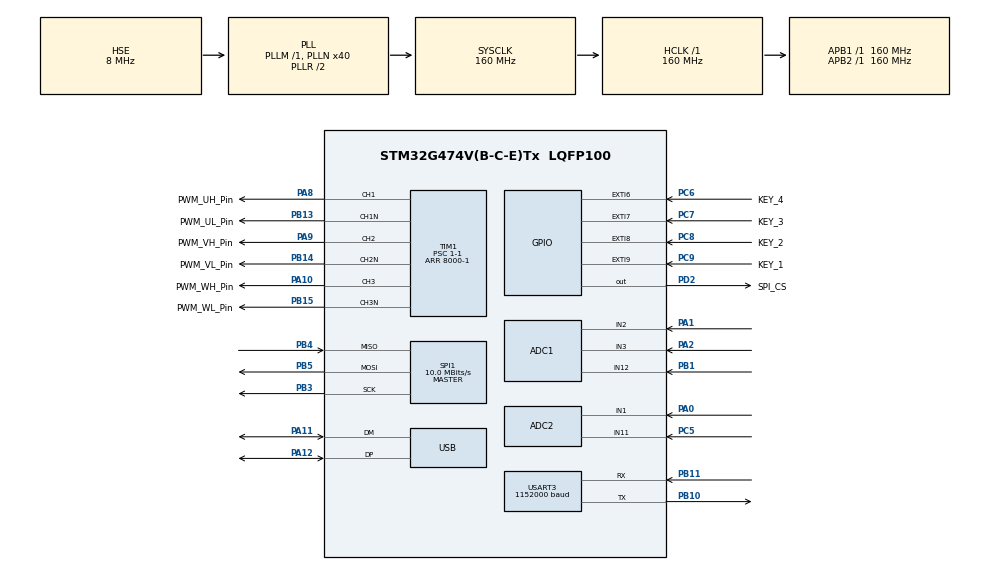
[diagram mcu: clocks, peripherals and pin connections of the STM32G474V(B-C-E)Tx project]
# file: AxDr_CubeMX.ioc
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ADC1.Channel-0\#ChannelRegularConversion=ADC_CHANNEL_12
ADC1.EnableInjectedConversion=ENABLE
ADC1.ExternalTrigInjecConv=ADC_EXTERNALTRIGINJEC_T1_TRGO
ADC1.InjNumberOfConversion=2
ADC1.InjectedChannel-1\#ChannelInjectedConversion=ADC_CHANNEL_3
ADC1.InjectedChannel-2\#ChannelInjectedConversion=ADC_CHANNEL_2
ADC1.InjectedOffsetNumber-1\#ChannelInjectedConversion=ADC_OFFSET_NONE
ADC1.InjectedOffsetNumber-2\#ChannelInjectedConversion=ADC_OFFSET_NONE
ADC1.InjectedRank-1\#ChannelInjectedConversion=1
ADC1.InjectedRank-2\#ChannelInjectedConversion=2
ADC1.InjectedSamplingTime-1\#ChannelInjectedConversion=ADC_SAMPLETIME_12CYCLES_5
ADC1.InjectedSamplingTime-2\#ChannelInjectedConversion=ADC_SAMPLETIME_12CYCLES_5
ADC1.NbrOfConversionFlag=1
ADC1.OffsetNumber-0\#ChannelRegularConversion=ADC_OFFSET_NONE
ADC1.Rank-0\#ChannelRegularConversion=1
ADC1.SamplingTime-0\#ChannelRegularConversion=ADC_SAMPLETIME_12CYCLES_5
ADC1.master=1
ADC2.Channel-0\#ChannelRegularConversion=ADC_CHANNEL_11
ADC2.EnableInjectedConversion=ENABLE
ADC2.ExternalTrigInjecConv=ADC_EXTERNALTRIGINJEC_T1_TRGO
ADC2.InjNumberOfConversion=2
ADC2.InjectedChannel-1\#ChannelInjectedConversion=ADC_CHANNEL_2
ADC2.InjectedChannel-2\#ChannelInjectedConversion=ADC_CHANNEL_1
ADC2.InjectedOffsetNumber-1\#ChannelInjectedConversion=ADC_OFFSET_NONE
ADC2.InjectedOffsetNumber-2\#ChannelInjectedConversion=ADC_OFFSET_NONE
ADC2.InjectedRank-1\#ChannelInjectedConversion=1
ADC2.InjectedRank-2\#ChannelInjectedConversion=2
ADC2.InjectedSamplingTime-1\#ChannelInjectedConversion=ADC_SAMPLETIME_12CYCLES_5
ADC2.InjectedSamplingTime-2\#ChannelInjectedConversion=ADC_SAMPLETIME_12CYCLES_5
ADC2.NbrOfConversionFlag=1
ADC2.OffsetNumber-0\#ChannelRegularConversion=ADC_OFFSET_NONE
ADC2.Rank-0\#ChannelRegularConversion=1
ADC2.Rank1_Channel=ADC_CHANNEL_2
ADC2.Rank2_Channel=ADC_CHANNEL_1
ADC2.SamplingTime-0\#ChannelRegularConversion=ADC_SAMPLETIME_6CYCLES_5
Dma.Request0=USART3_RX
Dma.Request1=USART3_TX
Dma.USART3_RX.0.Direction=DMA_PERIPH_TO_MEMORY
Dma.USART3_RX.0.EventEnable=DISABLE
Dma.USART3_RX.0.Instance=DMA1_Channel1
Dma.USART3_RX.0.MemDataAlignment=DMA_MDATAALIGN_BYTE
Dma.USART3_RX.0.MemInc=DMA_MINC_ENABLE
Dma.USART3_RX.0.Mode=DMA_NORMAL
Dma.USART3_RX.0.PeriphDataAlignment=DMA_PDATAALIGN_BYTE
Dma.USART3_RX.0.PeriphInc=DMA_PINC_DISABLE
Dma.USART3_RX.0.Polarity=HAL_DMAMUX_REQ_GEN_RISING
Dma.USART3_RX.0.Priority=DMA_PRIORITY_LOW
Dma.USART3_RX.0.RequestNumber=1
Dma.USART3_RX.0.SignalID=NONE
Dma.USART3_RX.0.SyncEnable=DISABLE
Dma.USART3_RX.0.SyncPolarity=HAL_DMAMUX_SYNC_NO_EVENT
Dma.USART3_RX.0.SyncRequestNumber=1
Dma.USART3_RX.0.SyncSignalID=NONE
Dma.USART3_TX.1.Direction=DMA_MEMORY_TO_PERIPH
Dma.USART3_TX.1.EventEnable=DISABLE
Dma.USART3_TX.1.Instance=DMA1_Channel2
Dma.USART3_TX.1.MemDataAlignment=DMA_MDATAALIGN_BYTE
Dma.USART3_TX.1.MemInc=DMA_MINC_ENABLE
Dma.USART3_TX.1.Mode=DMA_NORMAL
Dma.USART3_TX.1.PeriphDataAlignment=DMA_PDATAALIGN_BYTE
Dma.USART3_TX.1.PeriphInc=DMA_PINC_DISABLE
Dma.USART3_TX.1.Polarity=HAL_DMAMUX_REQ_GEN_RISING
Dma.USART3_TX.1.Priority=DMA_PRIORITY_LOW
Dma.USART3_TX.1.RequestNumber=1
Dma.USART3_TX.1.SignalID=NONE
Dma.USART3_TX.1.SyncEnable=DISABLE
Dma.USART3_TX.1.SyncPolarity=HAL_DMAMUX_SYNC_NO_EVENT
Dma.USART3_TX.1.SyncRequestNumber=1
Dma.USART3_TX.1.SyncSignalID=NONE
Mcu.Family=STM32G4
Mcu.Name=STM32G474V(B-C-E)Tx
Mcu.Package=LQFP100
NVIC.ADC1_2_IRQn=true\:0\:0\:false\:false\:true\:true\:true\:true
NVIC.DMA1_Channel1_IRQn=true\:0\:0\:false\:false\:true\:false\:true\:true
NVIC.DMA1_Channel2_IRQn=true\:0\:0\:false\:false\:true\:false\:true\:true
NVIC.EXTI9_5_IRQn=true\:3\:0\:true\:false\:true\:true\:true\:true
NVIC.PriorityGroup=NVIC_PRIORITYGROUP_4
NVIC.TIM1_BRK_TIM15_IRQn=true\:0\:0\:false\:false\:true\:true\:true\:true
NVIC.TIM1_UP_TIM16_IRQn=true\:0\:0\:false\:false\:true\:true\:true\:true
NVIC.USART3_IRQn=true\:0\:0\:false\:false\:true\:true\:true\:true
NVIC.USB_LP_IRQn=true\:0\:0\:false\:false\:true\:false\:true\:true
PA0.Mode=IN1-Single-Ended
PA0.Signal=ADC2_IN1
PA1.Signal=SharedAnalog_PA1
PA10.GPIO_Label=PWM_WH_Pin
PA10.Signal=S_TIM1_CH3
PA11.Mode=Device
PA11.Signal=USB_DM
PA12.Mode=Device
PA12.Signal=USB_DP
PA13.Mode=Serial_Wire
PA13.Signal=SYS_JTMS-SWDIO
PA14.Mode=Serial_Wire
PA14.Signal=SYS_JTCK-SWCLK
PA2.Mode=IN3-Single-Ended
PA2.Signal=ADC1_IN3
PA8.GPIO_Label=PWM_UH_Pin
PA8.Signal=S_TIM1_CH1
PA9.GPIO_Label=PWM_VH_Pin
PA9.Signal=S_TIM1_CH2
PB1.Mode=IN12-Single-Ended
PB1.Signal=ADC1_IN12
PB10.Mode=Asynchronous
PB10.Signal=USART3_TX
PB11.Mode=Asynchronous
PB11.Signal=USART3_RX
PB13.GPIO_Label=PWM_UL_Pin
PB13.Mode=PWM Generation1 CH1 CH1N
PB13.Signal=TIM1_CH1N
PB14.GPIO_Label=PWM_VL_Pin
PB14.Mode=PWM Generation2 CH2 CH2N
PB14.Signal=TIM1_CH2N
PB15.GPIO_Label=PWM_WL_Pin
PB15.Mode=PWM Generation3 CH3 CH3N
PB15.Signal=TIM1_CH3N
PB3.Mode=Full_Duplex_Master
PB3.Signal=SPI1_SCK
PB4.Mode=Full_Duplex_Master
PB4.Signal=SPI1_MISO
PB5.Mode=Full_Duplex_Master
PB5.Signal=SPI1_MOSI
PC5.Mode=IN11-Single-Ended
PC5.Signal=ADC2_IN11
PC6.GPIO_Label=KEY_4
PC6.GPIO_ModeDefaultEXTI=GPIO_MODE_IT_FALLING
PC6.Signal=GPXTI6
PC7.GPIO_Label=KEY_3
PC7.Signal=GPXTI7
PC8.GPIO_Label=KEY_2
PC8.Signal=GPXTI8
PC9.GPIO_Label=KEY_1
PC9.Signal=GPXTI9
PD2.GPIO_Label=SPI_CS
PD2.GPIO_PuPd=GPIO_PULLDOWN
PD2.GPIO_Speed=GPIO_SPEED_FREQ_MEDIUM
PD2.Signal=GPIO_Output
PF0-OSC_IN.Mode=HSE-External-Oscillator
PF0-OSC_IN.Signal=RCC_OSC_IN
PF1-OSC_OUT.Mode=HSE-External-Oscillator
PF1-OSC_OUT.Signal=RCC_OSC_OUT
ProjectManager.HeapSize=0x600
ProjectManager.StackSize=0x400
ProjectManager.TargetToolchain=MDK-ARM V5.32
RCC.ADC12Freq_Value=160000000
RCC.ADC345Freq_Value=160000000
RCC.AHBFreq_Value=160000000
RCC.APB1Freq_Value=160000000
RCC.APB1TimFreq_Value=160000000
RCC.APB2Freq_Value=160000000
RCC.APB2TimFreq_Value=160000000
RCC.CK48CLockSelection=RCC_USBCLKSOURCE_HSI48
RCC.CortexFreq_Value=160000000
RCC.EXTERNAL_CLOCK_VALUE=12288000
RCC.HCLKFreq_Value=160000000
RCC.HSE_VALUE=8000000
RCC.HSI48_VALUE=48000000
RCC.HSI_VALUE=16000000
RCC.LSE_VALUE=32768
RCC.PLLN=40
RCC.PLLSourceVirtual=RCC_PLLSOURCE_HSE
RCC.SYSCLKFreq_VALUE=160000000
RCC.SYSCLKSource=RCC_SYSCLKSOURCE_PLLCLK
RCC.USBFreq_Value=48000000
RCC.VCOOutputFreq_Value=320000000
SH.S_TIM1_CH1.0=TIM1_CH1,PWM Generation1 CH1 CH1N
SH.S_TIM1_CH2.0=TIM1_CH2,PWM Generation2 CH2 CH2N
SH.S_TIM1_CH3.0=TIM1_CH3,PWM Generation3 CH3 CH3N
SH.SharedAnalog_PA1.0=ADC1_IN2,IN2-Single-Ended
SH.SharedAnalog_PA1.1=ADC2_IN2,IN2-Single-Ended
SPI1.BaudRatePrescaler=SPI_BAUDRATEPRESCALER_16
SPI1.CLKPhase=SPI_PHASE_2EDGE
SPI1.CLKPolarity=SPI_POLARITY_HIGH
SPI1.CalculateBaudRate=10.0 MBits/s
SPI1.DataSize=SPI_DATASIZE_16BIT
SPI1.Direction=SPI_DIRECTION_2LINES
SPI1.Mode=SPI_MODE_MASTER
SPI1.VirtualType=VM_MASTER
STMicroelectronics.X-CUBE-ALGOBUILD.1.3.0.LibraryCcDSPOoLibraryJjDSPOoLibrary=true
TIM1.Channel-PWM\ Generation1\ CH1\ CH1N=TIM_CHANNEL_1
TIM1.Channel-PWM\ Generation2\ CH2\ CH2N=TIM_CHANNEL_2
TIM1.Channel-PWM\ Generation3\ CH3\ CH3N=TIM_CHANNEL_3
TIM1.Channel-PWM\ Generation4\ No\ Output=TIM_CHANNEL_4
TIM1.ClockDivision=TIM_CLOCKDIVISION_DIV1
TIM1.CounterMode=TIM_COUNTERMODE_CENTERALIGNED1
TIM1.DeadTime=120
TIM1.PeriodNoDither=8000-1
TIM1.Prescaler=1-1
TIM1.RepetitionCounter=1
TIM1.TIM_MasterOutputTrigger=TIM_TRGO_OC4REF
USART3.BaudRate=1152000
USART3.VirtualMode-Asynchronous=VM_ASYNC
USB_DEVICE.CLASS_NAME_FS=CDC
USB_DEVICE.VirtualMode=Cdc
USB_DEVICE.VirtualModeFS=Cdc_FS
VP_STMicroelectronics.X-CUBE-ALGOBUILD_VS_DSPOoLibraryJjLibrary_1.3.0_1.3.0.Mode=DSPOoLibraryJjLibrary
VP_SYS_VS_DBSignals.Mode=DisableDeadBatterySignals
VP_TIM1_VS_ClockSourceINT.Mode=Internal
VP_TIM1_VS_no_output4.Mode=PWM Generation4 No Output
VP_USB_DEVICE_VS_USB_DEVICE_CDC_FS.Mode=CDC_FS
board=custom

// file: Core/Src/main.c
/* USER CODE BEGIN Header */
/**
  ******************************************************************************
  * @file           : main.c
  * @brief          : Main program body
  ******************************************************************************
  * @attention
  *
  * Copyright (c) 2024 STMicroelectronics.
  * All rights reserved.
  *
  * This software is licensed under terms that can be found in the LICENSE file
  * in the root directory of this software component.
  * If no LICENSE file comes with this software, it is provided AS-IS.
  *
  ******************************************************************************
  */
/* USER CODE END Header */
#include "main.h"
#include "adc.h"
#include "dma.h"
#include "spi.h"
#include "tim.h"
#include "usart.h"
#include "usb_device.h"
#include "gpio.h"

/* USER CODE BEGIN Includes */
#include "FOC_Model.h"
#include "usart_vofa.h"
#include "stdio.h"
#include "motor_control.h"
#include "encoder.h"

uint16_T adc1_in3,adc2_in1,Udc;
extern uint8_t aRxBuffer;
float theta;
uint32_t time;
#define M_PI (3.14159265358f)         // 圆周率

float mec_angle= 0;
float elc_angle= 0;
/* USER CODE END Includes */

void SystemClock_Config(void);

int main(void)
{

  /* MCU Configuration--------------------------------------------------------*/

  /* Reset of all peripherals, Initializes the Flash interface and the Systick. */
  HAL_Init();

  /* Configure the system clock */
  SystemClock_Config();

  /* Initialize all configured peripherals */
  MX_GPIO_Init();
  MX_DMA_Init();
  MX_ADC1_Init();
  MX_ADC2_Init();
  MX_TIM1_Init();
  MX_USART3_UART_Init();
  MX_SPI1_Init();
  MX_USB_Device_Init();
  /* USER CODE BEGIN 2 */
	HAL_ADCEx_Calibration_Start( &hadc1, ADC_SINGLE_ENDED);
	HAL_ADCEx_Calibration_Start( &hadc2, ADC_SINGLE_ENDED);
	__HAL_ADC_CLEAR_FLAG( &hadc1, ADC_FLAG_JEOC);
//	__HAL_ADC_CLEAR_FLAG( &hadc1, ADC_FLAG_EOC);
	__HAL_ADC_CLEAR_FLAG( &hadc2, ADC_FLAG_JEOC);
		__HAL_ADC_CLEAR_FLAG( &hadc2, ADC_FLAG_EOC);
	HAL_ADCEx_InjectedStart_IT( &hadc1);
	HAL_ADCEx_InjectedStart( &hadc2);
	TIM1->CCR4 = 8000-2;
	TIM1->ARR = 8000-1;
	HAL_TIM_Base_Start( &htim1);
	HAL_TIM_PWM_Start( &htim1, TIM_CHANNEL_4);
	HAL_UART_Receive_IT(&huart3, (uint8_t *)&aRxBuffer, 1);

  /* USER CODE END 2 */

  /* Infinite loop */
  /* USER CODE BEGIN WHILE */
	FOC_Model_initialize();
	encoder_init(&mt6816);

	foc.id_gain = 0;//设置id增益，在低速阶段注入id电流有助于磁链观测器获取角度，编码器不需要。
	foc.id_align = 0.5;//设置预定位的电流大小
	foc.spd_ref = 200;//设定速度
	motor_switch = 0;//关闭状态

  while (1)
  {
    /* USER CODE END WHILE */

    /* USER CODE BEGIN 3 */

		if (HAL_GetTick() - time > 2)//获取母线电压
		{
			time = HAL_GetTick();
			HAL_ADC_Start(&hadc2);
			Udc= hadc2.Instance->DR;
			HAL_ADCEx_RegularStop(&hadc2);
			foc.Ubus = Udc*3.3f/4096 * 15;
		}

			vofa_send_data(0, foc.ia);
			vofa_send_data(1, foc.ib);
			vofa_send_data(2, foc.ic);
			vofa_send_data(3, observer_flux.theta_cos);
			vofa_send_data(4,	observer_flux.theta_sin);
			vofa_send_data(5, mt6816.elec_angle);
			vofa_send_data(6, observer_flux.flux_theta);
			vofa_send_data(7, foc.i_alpha);
			vofa_send_data(8, foc.u_alpha);

			vofa_send_data(9, mt6816.elec_angle_offset);
			vofa_send_data(10,foc.uq);
			vofa_sendframetail();

  }
  /* USER CODE END 3 */
}

void SystemClock_Config(void)
{
  RCC_OscInitTypeDef RCC_OscInitStruct = {0};
  RCC_ClkInitTypeDef RCC_ClkInitStruct = {0};

  /** Configure the main internal regulator output voltage
  */
  HAL_PWREx_ControlVoltageScaling(PWR_REGULATOR_VOLTAGE_SCALE1_BOOST);

  /** Initializes the RCC Oscillators according to the specified parameters
  * in the RCC_OscInitTypeDef structure.
  */
  RCC_OscInitStruct.OscillatorType = RCC_OSCILLATORTYPE_HSI48|RCC_OSCILLATORTYPE_HSE;
  RCC_OscInitStruct.HSEState = RCC_HSE_ON;
  RCC_OscInitStruct.HSI48State = RCC_HSI48_ON;
  RCC_OscInitStruct.PLL.PLLState = RCC_PLL_ON;
  RCC_OscInitStruct.PLL.PLLSource = RCC_PLLSOURCE_HSE;
  RCC_OscInitStruct.PLL.PLLM = RCC_PLLM_DIV1;
  RCC_OscInitStruct.PLL.PLLN = 40;
  RCC_OscInitStruct.PLL.PLLP = RCC_PLLP_DIV2;
  RCC_OscInitStruct.PLL.PLLQ = RCC_PLLQ_DIV2;
  RCC_OscInitStruct.PLL.PLLR = RCC_PLLR_DIV2;
  if (HAL_RCC_OscConfig(&RCC_OscInitStruct) != HAL_OK)
  {
    Error_Handler();
  }

  /** Initializes the CPU, AHB and APB buses clocks
  */
  RCC_ClkInitStruct.ClockType = RCC_CLOCKTYPE_HCLK|RCC_CLOCKTYPE_SYSCLK
                              |RCC_CLOCKTYPE_PCLK1|RCC_CLOCKTYPE_PCLK2;
  RCC_ClkInitStruct.SYSCLKSource = RCC_SYSCLKSOURCE_PLLCLK;
  RCC_ClkInitStruct.AHBCLKDivider = RCC_SYSCLK_DIV1;
  RCC_ClkInitStruct.APB1CLKDivider = RCC_HCLK_DIV1;
  RCC_ClkInitStruct.APB2CLKDivider = RCC_HCLK_DIV1;

  if (HAL_RCC_ClockConfig(&RCC_ClkInitStruct, FLASH_LATENCY_4) != HAL_OK)
  {
    Error_Handler();
  }
}

/* USER CODE BEGIN 4 */

void HAL_ADCEx_InjectedConvCpltCallback(ADC_HandleTypeDef *hadc)
{
  /* Prevent unused argument(s) compilation warning */
  UNUSED(hadc);
	adc1_in3 = hadc1.Instance->JDR1;
	adc2_in1 = hadc2.Instance->JDR1;

	foc.ia = (adc1_in3 - 2064)*0.04028f;
	foc.ib = (adc2_in1 - 2021)*0.04028f;
	foc.ic = -foc.ia - foc.ib;

//	theta = 2 * M_PI * (REIN_MT6816_Get_AngleData())/16348;
//	mt6816.mec_angle = theta;

	encoder_loop(&mt6816);//编码器获取角度
	get_speed_M(2);//编码器读取速度

	if(foc.motor_state ==2)
	{
		mt6816.elec_angle_offset = mt6816.elec_angle;//校准编码器位置
		mt6816.offset_cnt++;
	}else if(foc.motor_state ==1)
	{
		mt6816.elec_angle_offset = 0;
		mt6816.offset_cnt = 0;
	}else
	{

		if(mt6816.offset_cnt != 0)
		{
			mt6816.elec_angle_offset /= mt6816.offset_cnt;
			mt6816.offset_cnt = 0;
		}
	}

//	encoder_read_theta(&mt6825,7);

	foc.theta_input = observer_flux.flux_theta;
	foc.spd_fdbk = observer_flux.flux_spd;

//	foc.theta_input = mt6816.elec_angle;
//	foc.spd_fdbk = mt6816.speed;

	FOC_Model_step();
	htim1.Instance->CCR1 = foc.Tcmp1;
	htim1.Instance->CCR2 = foc.Tcmp2;
	htim1.Instance->CCR3 = foc.Tcmp3;

  /* NOTE : This function should not be modified. When the callback is needed,
            function HAL_ADCEx_InjectedConvCpltCallback must be implemented in the user file.
  */
}

/* USER CODE END 4 */

void Error_Handler(void)
{
  __disable_irq();
  while (1)
  {
  }
}
